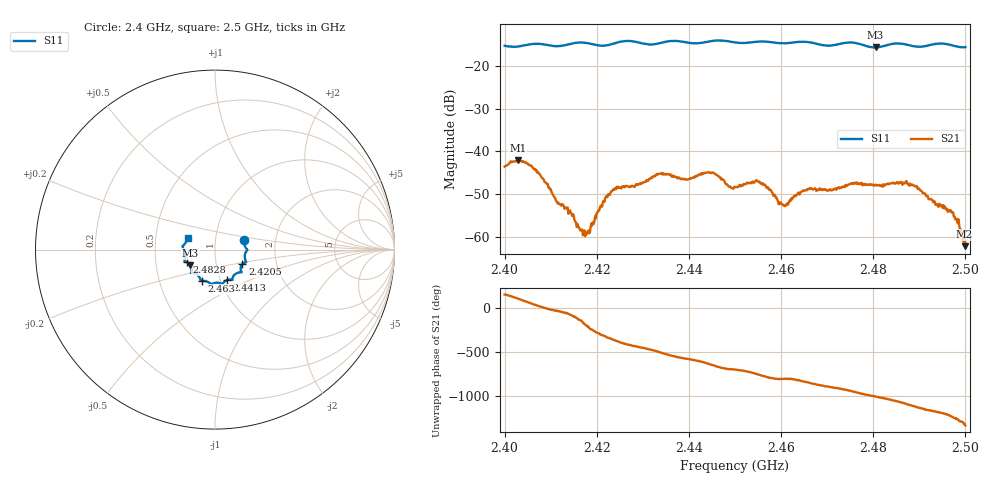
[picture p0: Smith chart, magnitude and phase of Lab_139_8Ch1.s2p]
# Hz S RI R 50
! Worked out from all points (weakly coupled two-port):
!   601 points, 2.4 GHz to 2.5 GHz, reference 50 ohm
!   highest |S21| = -42.03 dB at 2.4028 GHz (marker M1); lowest = -62.1 dB at 2.4998 GHz (marker M2)
!   lowest |S11| = -15.7 dB at 2.4805 GHz (marker M3), VSWR 1.39, Z = 37.3 - j6.68 ohm
!   |S11| at or under -10 dB: start of sweep to end of sweep
!   S12 and S22 are empty: the file has one direction only
!   S11 on the Smith chart (normalised r, x): 2.4 GHz: 1.38, +0.15; 2.4205 GHz: 1.34, -0.22; 2.4413 GHz: 1.08, -0.38; 2.463 GHz: 0.82, -0.29; 2.4828 GHz: 0.72, -0.10; 2.5 GHz: 0.73, +0.10
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2.4e9  0.163 0.0526  -0.006 0.00288  0 0  0 0
2.402833e9  0.1662 0.0204  -0.00257 0.00749  0 0  0 0
2.407167e9  0.1806 -0.00122  0.00518 0.00262  0 0  0 0
2.416667e9  0.1735 -0.0697  -0.000995 -0.000711  0 0  0 0
2.418e9  0.1692 -0.0714  -0.000982 0.000617  0 0  0 0
2.4205e9  0.1522 -0.0809  0.00064 0.00194  0 0  0 0
2.423833e9  0.1437 -0.1132  0.00355 -0.00042  0 0  0 0
2.433333e9  0.1004 -0.1514  -0.0041 -0.00359  0 0  0 0
2.441333e9  0.0675 -0.1697  -0.00285 0.00426  0 0  0 0
2.445333e9  0.0428 -0.1909  0.00242 0.00513  0 0  0 0
2.45e9  0.0247 -0.1858  0.00369 0.00112  0 0  0 0
2.455e9  -0.0164 -0.1907  0.0035 -0.00277  0 0  0 0
2.460667e9  -0.0525 -0.1752  0.000169 -0.00235  0 0  0 0
2.463e9  -0.0721 -0.1735  -0.000382 -0.00303  0 0  0 0
2.466667e9  -0.0814 -0.1673  -0.00286 -0.00232  0 0  0 0
2.4805e9  -0.1382 -0.0871  0.00145 0.00383  0 0  0 0
2.482833e9  -0.1584 -0.0702  0.00295 0.00289  0 0  0 0
2.483333e9  -0.1624 -0.0684  0.00323 0.0026  0 0  0 0
2.489e9  -0.1647 -0.0357  0.00294 -0.00269  0 0  0 0
2.496833e9  -0.1724 0.0277  -0.00185 -0.000878  0 0  0 0
2.499833e9  -0.1528 0.0617  -0.000378 0.000687  0 0  0 0
2.5e9  -0.1522 0.0639  -0.00015 0.000898  0 0  0 0
